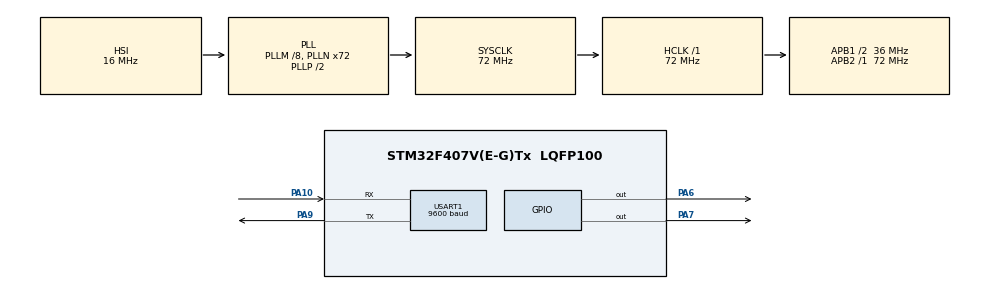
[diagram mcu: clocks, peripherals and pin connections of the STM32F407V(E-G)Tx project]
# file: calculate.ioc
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Mcu.Family=STM32F4
Mcu.Name=STM32F407V(E-G)Tx
Mcu.Package=LQFP100
NVIC.PriorityGroup=NVIC_PRIORITYGROUP_4
NVIC.RCC_IRQn=true\:0\:0\:false\:false\:true\:true\:false
NVIC.USART1_IRQn=true\:0\:0\:false\:false\:true\:true\:true
PA10.Mode=Asynchronous
PA10.Signal=USART1_RX
PA13.Mode=Serial_Wire
PA13.Signal=SYS_JTMS-SWDIO
PA14.Mode=Serial_Wire
PA14.Signal=SYS_JTCK-SWCLK
PA6.PinState=GPIO_PIN_RESET
PA6.Signal=GPIO_Output
PA7.PinState=GPIO_PIN_RESET
PA7.Signal=GPIO_Output
PA9.Mode=Asynchronous
PA9.Signal=USART1_TX
PH0-OSC_IN.Mode=HSE-External-Oscillator
PH0-OSC_IN.Signal=RCC_OSC_IN
PH1-OSC_OUT.Mode=HSE-External-Oscillator
PH1-OSC_OUT.Signal=RCC_OSC_OUT
ProjectManager.HeapSize=0x200
ProjectManager.StackSize=0x400
ProjectManager.TargetToolchain=MDK-ARM V5.32
RCC.48MHZClocksFreq_Value=36000000
RCC.AHBFreq_Value=72000000
RCC.APB1CLKDivider=RCC_HCLK_DIV2
RCC.APB1Freq_Value=36000000
RCC.APB1TimFreq_Value=72000000
RCC.APB2Freq_Value=72000000
RCC.APB2TimFreq_Value=72000000
RCC.CortexFreq_Value=72000000
RCC.HCLKFreq_Value=72000000
RCC.HSE_VALUE=25000000
RCC.HSI_VALUE=16000000
RCC.LSE_VALUE=32768
RCC.PLLM=8
RCC.PLLN=72
RCC.SYSCLKFreq_VALUE=72000000
RCC.SYSCLKSource=RCC_SYSCLKSOURCE_PLLCLK
RCC.VCOOutputFreq_Value=144000000
USART1.BaudRate=9600
USART1.VirtualMode=VM_ASYNC
board=custom

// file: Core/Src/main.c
/* USER CODE BEGIN Header */
/**
  ******************************************************************************
  * @file           : main.c
  * @brief          : Main program body
  ******************************************************************************
  * @attention
  *
  * <h2><center>&copy; Copyright (c) 2021 STMicroelectronics.
  * All rights reserved.</center></h2>
  *
  * This software component is licensed by ST under BSD 3-Clause license,
  * the "License"; You may not use this file except in compliance with the
  * License. You may obtain a copy of the License at:
  *                        opensource.org/licenses/BSD-3-Clause
  *
  ******************************************************************************
  */
/* USER CODE END Header */
#include "main.h"
#include "usart.h"
#include "gpio.h"

/* USER CODE BEGIN Includes */
#include <string.h>
#include <stdio.h>
#include <ctype.h>
#include "calculate.h"
#define ITEM_MAX 20
#define RXBUFFERSIZE  256
void modifyAction(char buffer[]);
void initItem();
char RxBuffer[RXBUFFERSIZE];
char item[ITEM_MAX + 2];
uint8_t aRxBuffer;
uint8_t Uart1_Rx_Cnt = 0;
/* USER CODE END Includes */

void SystemClock_Config(void);

/* USER CODE BEGIN 0 */
int fputc(int ch,FILE *f)
{
	HAL_UART_Transmit(&huart1,(uint8_t *)&ch,1,0xFFFF);
	return ch;
}
/* USER CODE END 0 */

int main(void)
{

  /* MCU Configuration--------------------------------------------------------*/

  /* Reset of all peripherals, Initializes the Flash interface and the Systick. */
  HAL_Init();

  /* Configure the system clock */
  SystemClock_Config();

  /* Initialize all configured peripherals */
  MX_GPIO_Init();
  MX_USART1_UART_Init();
  /* USER CODE BEGIN 2 */
	HAL_GPIO_WritePin(GPIOA,GPIO_PIN_6,GPIO_PIN_SET);
	HAL_GPIO_WritePin(GPIOA,GPIO_PIN_7,GPIO_PIN_SET);
	initItem();
	HAL_UART_Receive_IT(&huart1, (uint8_t *)&aRxBuffer, 1);
  /* USER CODE END 2 */

  /* Infinite loop */
  while (1)
  {

  }
}

void SystemClock_Config(void)
{
  RCC_OscInitTypeDef RCC_OscInitStruct = {0};
  RCC_ClkInitTypeDef RCC_ClkInitStruct = {0};

  /** Configure the main internal regulator output voltage
  */
  __HAL_RCC_PWR_CLK_ENABLE();
  __HAL_PWR_VOLTAGESCALING_CONFIG(PWR_REGULATOR_VOLTAGE_SCALE1);
  /** Initializes the RCC Oscillators according to the specified parameters
  * in the RCC_OscInitTypeDef structure.
  */
  RCC_OscInitStruct.OscillatorType = RCC_OSCILLATORTYPE_HSI;
  RCC_OscInitStruct.HSIState = RCC_HSI_ON;
  RCC_OscInitStruct.HSICalibrationValue = RCC_HSICALIBRATION_DEFAULT;
  RCC_OscInitStruct.PLL.PLLState = RCC_PLL_ON;
  RCC_OscInitStruct.PLL.PLLSource = RCC_PLLSOURCE_HSI;
  RCC_OscInitStruct.PLL.PLLM = 8;
  RCC_OscInitStruct.PLL.PLLN = 72;
  RCC_OscInitStruct.PLL.PLLP = RCC_PLLP_DIV2;
  RCC_OscInitStruct.PLL.PLLQ = 4;
  if (HAL_RCC_OscConfig(&RCC_OscInitStruct) != HAL_OK)
  {
    Error_Handler();
  }
  /** Initializes the CPU, AHB and APB buses clocks
  */
  RCC_ClkInitStruct.ClockType = RCC_CLOCKTYPE_HCLK|RCC_CLOCKTYPE_SYSCLK
                              |RCC_CLOCKTYPE_PCLK1|RCC_CLOCKTYPE_PCLK2;
  RCC_ClkInitStruct.SYSCLKSource = RCC_SYSCLKSOURCE_PLLCLK;
  RCC_ClkInitStruct.AHBCLKDivider = RCC_SYSCLK_DIV1;
  RCC_ClkInitStruct.APB1CLKDivider = RCC_HCLK_DIV2;
  RCC_ClkInitStruct.APB2CLKDivider = RCC_HCLK_DIV1;

  if (HAL_RCC_ClockConfig(&RCC_ClkInitStruct, FLASH_LATENCY_2) != HAL_OK)
  {
    Error_Handler();
  }
}

/* USER CODE BEGIN 4 */
void HAL_UART_RxCpltCallback(UART_HandleTypeDef *huart)
{
  /* Prevent unused argument(s) compilation warning */
  UNUSED(huart);
  /* NOTE: This function Should not be modified, when the callback is needed,
           the HAL_UART_TxCpltCallback could be implemented in the user file
   */

	if(Uart1_Rx_Cnt >= 255)  //????
	{
		Uart1_Rx_Cnt = 0;
		memset(RxBuffer,0x00,sizeof(RxBuffer));
		HAL_UART_Transmit(&huart1, (uint8_t *)"error", 10,0xFFFF);
	}
	else
	{
		RxBuffer[Uart1_Rx_Cnt++] = aRxBuffer;   //??????

		if((RxBuffer[Uart1_Rx_Cnt-1] == 0x0A)&&(RxBuffer[Uart1_Rx_Cnt-2] == 0x0D)) //?????
		{
			int i;
			char RxBuffer2[RXBUFFERSIZE];
			for (i = 0; i < Uart1_Rx_Cnt - 2; i++) {
				RxBuffer2[i] = RxBuffer[i];
			}
			HAL_GPIO_WritePin(GPIOA,GPIO_PIN_6,GPIO_PIN_RESET);
			modifyAction(RxBuffer2);
			//HAL_UART_Transmit(&huart1, (uint8_t *)&RxBuffer2, Uart1_Rx_Cnt - 2,0xFFFF); //??????????
      //while(HAL_UART_GetState(&huart1) == HAL_UART_STATE_BUSY_TX);//??UART????
			Uart1_Rx_Cnt = 0;
			memset(RxBuffer,0x00,sizeof(RxBuffer)); //????
			HAL_GPIO_WritePin(GPIOA,GPIO_PIN_6,GPIO_PIN_SET);
		}
	}

	HAL_UART_Receive_IT(&huart1, (uint8_t *)&aRxBuffer, 1);   //???????
}

void printItem() {
	printf("t1.txt=\"%s\"\xff\xff\xff", item);
}

void backItem() {
	if (item[1] != '\0') {
		int len = strlen(item);
		if (item[len - 1] == 'n') { // sin tan ln
			if (item[len - 2] == 'i' || item[len - 2] == 'a') {
				item[len - 1] = '\0';
				item[len - 2] = '\0';
				item[len - 3] = '\0';
			} else {
				item[len - 1] = '\0';
				item[len - 2] = '\0';
			}
		} else if (item[len - 1] == 's') { // cos
			item[len - 1] = '\0';
			item[len - 2] = '\0';
			item[len - 3] = '\0';
		} else if (item[len - 1] == 'g') { // lg
			item[len - 1] = '\0';
			item[len - 2] = '\0';
		} else {
			char* p;
			for (p = item; *p; p++);
			*(--p) = '\0';
		}
	} else {
		strcpy(item, "0");
	}

	if (item[0] == '\0') item[0] = '0';
}

void overItemCount() {
	initItem();
	printf("t1.txt=\"Error Count\"\xff\xff\xff");
}

void errorInput() {
	initItem();
	printf("t1.txt=\"Error Input\"\xff\xff\xff");
}

int isSign(char ch) {
	switch (ch) {
		case '+':
		case '-':
		case '*':
		case '/':
		case '^':
		case '.':
			return 1;
		default:
			return 0;
	}
}

int addSign(char *sign) {
	int itemLen = strlen(item);
	if ((item[itemLen - 1] >= '0' && item[itemLen - 1] <= '9')) {
		strcat(item, "*");
		strcat(item, sign);
		return 0;
	}

	if (item[itemLen - 1] == '.') return 2;

	strcat(item, sign);
	return 0;
}

int checkBracket() {
	int len = strlen(item);
	return item[len - 1] == ')';
}

int checkNum() {
	int len = strlen(item);
	return item[len - 1] >= '0' && item[len - 1] <= '9';
}

void addItem(char ch) {
	int flag = 0;
	int len = strlen(item);
	int restLen = ITEM_MAX - len;

	if (restLen == 0) {
		overItemCount();
		return;
	}

	if (item[len - 1] == '0' && !isSign(ch) && len == 1) {
		char* p;
		for (p = item; *p; p++);
		*(--p) = '\0';
	}

	if (ch == 's') {
			if (restLen < 4) flag = 1;
			else flag = addSign("sin");
	} else if (ch == 'c') {
			if (restLen < 4) flag = 1;
			else flag = addSign("cos");
	} else if (ch == 't') {
			if (restLen < 4) flag = 1;
			else flag = addSign("tan");
	} else if (ch == 'n') {
			if (restLen < 3) flag = 1;
			else flag = addSign("ln");
	} else if (ch == 'g') {
			if (restLen < 3) flag = 1;
			else flag = addSign("lg");
	} else if (ch == '(') {
			flag = addSign("(");
	} else if (ch == ')') {
			if (checkNum()) strcat(item, ")");
			else flag = 2;
	} else if (ch == '.') {
			if (checkNum() || checkBracket()) strcat(item, ".");
			else flag = 2;
	} else if (ch == '+') {
			if (checkNum() || checkBracket()) strcat(item, "+");
			else flag = 2;
	} else if (ch == '-') {
			if (checkNum() || checkBracket()) strcat(item, "-");
			else flag = 2;
	} else if (ch == '*') {
			if (checkNum() || checkBracket()) strcat(item, "*");
			else flag = 2;
	} else if (ch == '/') {
			if (checkNum() || checkBracket()) strcat(item, "/");
			else flag = 2;
	} else if (ch == '^') {
			if (checkNum() || checkBracket()) strcat(item, "^");
			else flag = 2;
	} else if (item[0] == '\0') {
			item[0] = ch;
	} else if (item[0] == '-' && item[1] == '0' && len == 2) {
			backItem();
			char strChar[2] = {ch};
			strncat(item, strChar, 1);
	} else {
			char strChar[2] = {ch};
			strncat(item, strChar, 1);
	}

	if (flag == 1) overItemCount();
	else if (flag == 2) errorInput();
	else printItem();
}

void initItem() {
	item[0] = '0';
	for (int i = 1; i < ITEM_MAX; i++) {
		item[i] = '\0';
	}
}

void clearPrint() {
	printf("t1.txt=\"0\"\xff\xff\xff");
}

void printResult() {
	int len = strlen(item);
	if ((item[len - 1] < '0' || item[len - 1] > '9') && item[len - 1] != ')') {
		printf("t1.txt=\"Input Error\"\xff\xff\xff");
		initItem();
		return;
	}

	HAL_GPIO_WritePin(GPIOA,GPIO_PIN_7,GPIO_PIN_RESET);
	char str[ITEM_MAX];
	strcpy(str, item);
	startCalculate(str);
	initItem();
	HAL_GPIO_WritePin(GPIOA,GPIO_PIN_7,GPIO_PIN_SET);
}

void clearAll() {
	initItem();
	clearPrint();
}

void modifyAction(char buffer[]) {
	if (buffer[0] == 0x01) {
		addItem('1');
	} else if (buffer[0] == 0x02) {
		addItem('2');
	} else if (buffer[0] == 0x03) {
		addItem('3');
	} else if (buffer[0] == 0x04) {
		addItem('4');
	} else if (buffer[0] == 0x05) {
		addItem('5');
	} else if (buffer[0] == 0x06) {
		addItem('6');
	} else if (buffer[0] == 0x07) {
		addItem('7');
	} else if (buffer[0] == 0x08) {
		addItem('8');
	} else if (buffer[0] == 0x09) {
		addItem('9');
	} else if (buffer[0] == 0x00) {
		addItem('0');
	} else if (buffer[0] == 0x0B) {
		addItem('.');
	} else if (buffer[0] == 0x0C) {
		addItem('+');
	} else if (buffer[0] == 0x0D) {
		addItem('-');
	} else if (buffer[0] == 0x0E) {
		addItem('*');
	} else if (buffer[0] == 0x0F) {
		addItem('/');
	} else if (buffer[0] == 0x10) {
		addItem('(');
	} else if (buffer[0] == 0x11) {
		addItem(')');
	} else if (buffer[0] == 0x12) {
		addItem('^');
	} else if (buffer[0] == 0x13) {
		addItem('s');
	} else if (buffer[0] == 0x14) {
		addItem('c');
	} else if (buffer[0] == 0x15) {
		addItem('t');
	} else if (buffer[0] == 0x16) {
		addItem('n');
	} else if (buffer[0] == 0x17) {
		addItem('g');
	} else if (buffer[0] == 0x1F) {
		printResult();
	} else if (buffer[0] == 0x20) {
		backItem();
		printItem();
	} else if (buffer[0] == 0x21) {
		clearAll();
	} else if (buffer[0] == 0x63) {
		printItem();
	}
}

/* USER CODE END 4 */

void Error_Handler(void)
{
  __disable_irq();
  while (1)
  {
  }
}

/************************ (C) COPYRIGHT STMicroelectronics *****END OF FILE****/
